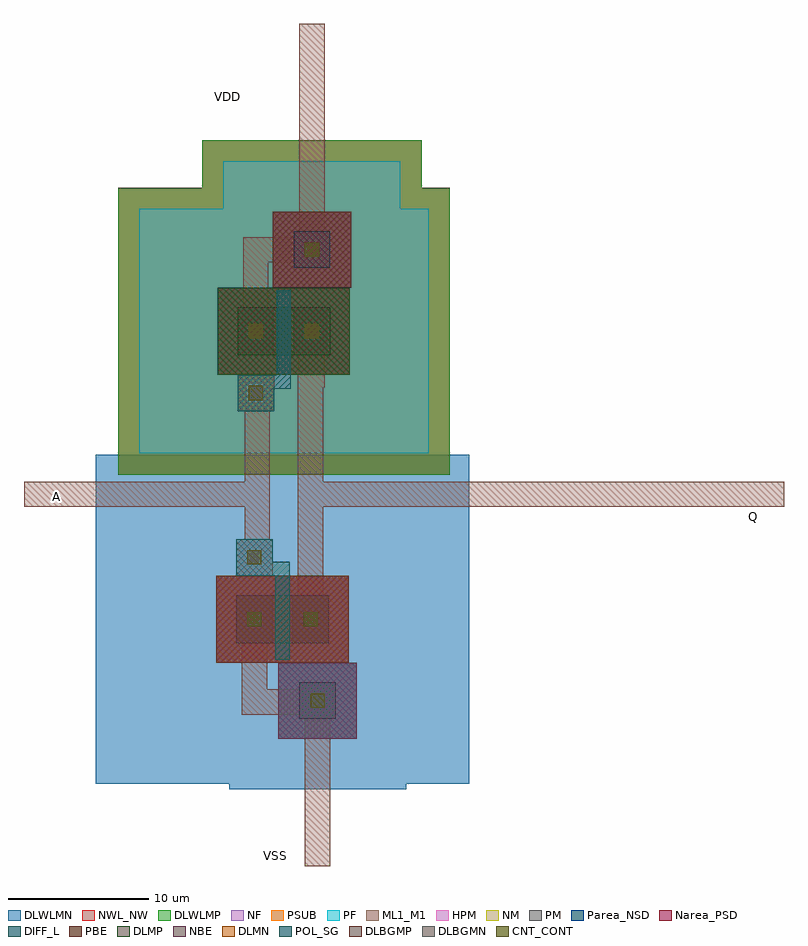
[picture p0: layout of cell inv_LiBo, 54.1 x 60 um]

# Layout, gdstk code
import gdstk
lib = gdstk.Library(unit=1e-6, precision=1e-07)
def R(c, l, rs):  # rectangles x0, y0, x1, y1
    for r in rs: c.add(gdstk.rectangle(r[:2], r[2:], *l))
DIFF_L = (3, 0)
NM = (7, 0)
POL_SG = (8, 0)
Narea_PSD = (9, 0)
CNT_CONT = (11, 0)
ML1_M1 = (13, 0)
NF = (25, 0)
PF = (26, 0)
Parea_NSD = (28, 0)
HPM = (33, 0)
PM = (35, 0)
NWL_NW = (36, 0)
PSUB = (140, 0)
PBE = (146, 0)
NBE = (147, 0)
DLWLMP = (150, 0)
DLWLMN = (151, 0)
DLMP = (157, 0)
DLMN = (158, 0)
DLBGMP = (177, 0)
DLBGMN = (178, 0)

dcont = lib.new_cell('dcont')
R(dcont, DIFF_L, [(-1.3,-1.3,1.3,1.3)])
R(dcont, CNT_CONT, [(-0.5,-0.5,0.5,0.5)])
R(dcont, ML1_M1, [(-1.3,-1.3,1.3,1.3), (-0.5,-0.5,0.5,0.5)])

pcont = lib.new_cell('pcont')
R(pcont, POL_SG, [(-1.3,-1.3,1.3,1.3)])
R(pcont, CNT_CONT, [(-0.5,-0.5,0.5,0.5)])
R(pcont, ML1_M1, [(-1.3,-1.3,1.3,1.3), (-0.5,-0.5,0.5,0.5)])

c_dcont = lib.new_cell('DCONT')
R(c_dcont, DIFF_L, [(-1.3,-1.3,1.3,1.3)])
R(c_dcont, CNT_CONT, [(-0.5,-0.5,0.5,0.5)])
R(c_dcont, ML1_M1, [(-1.3,-1.3,1.3,1.3), (-0.5,-0.5,0.5,0.5)])

nsubcont = lib.new_cell('nsubcont')
R(nsubcont, NM, [(-2.8,-2.7,2.8,2.7)])
R(nsubcont, Narea_PSD, [(-2.8,-2.7,2.8,2.7)])
R(nsubcont, NF, [(-6.3,-6.3,6.3,6.3)])
R(nsubcont, PF, [(-6.3,-6.3,6.3,6.3)])
R(nsubcont, HPM, [(-2.8,-2.7,2.8,2.7)])
R(nsubcont, PM, [(-2.8,-2.7,2.8,2.7)])
R(nsubcont, NWL_NW, [(-7.8,-7.8,7.8,7.8)])
R(nsubcont, PSUB, [(-6.3,-6.3,6.3,6.3)])
R(nsubcont, DLWLMP, [(-7.8,-7.8,7.8,7.8)])
R(nsubcont, DLBGMP, [(-2.8,-2.7,2.8,2.7)])
nsubcont.add(gdstk.Reference(c_dcont, (0,0)))

mp_1 = lib.new_cell('MP$1')
R(mp_1, DIFF_L, [(0,3.6,6.6,7)])
R(mp_1, NM, [(-1.4,2.2,8,8.4)])
R(mp_1, NF, [(-7,-3.4,13.6,14)])
R(mp_1, PF, [(-7,-3.4,13.6,14)])
R(mp_1, Parea_NSD, [(-1.4,2.2,8,8.4)])
R(mp_1, HPM, [(-1.4,2.2,8,8.4)])
R(mp_1, NWL_NW, [(-8.5,-4.9,15.1,15.5)])
R(mp_1, PSUB, [(-7,-3.4,13.6,14)])
R(mp_1, PBE, [(-1.4,2.2,8,8.4)])
R(mp_1, DLWLMP, [(-8.5,-4.9,15.1,15.5)])
R(mp_1, DLMP, [(-1.4,2.2,8,8.4)])
mp_1.add(gdstk.FlexPath([(1.3,3.6),(1.3,7)], 2.6, ends="flush", simple_path=True, layer=13, datatype=0))  # ML1_M1
mp_1.add(gdstk.FlexPath([(5.3,3.6),(5.3,7)], 2.6, ends="flush", simple_path=True, layer=13, datatype=0))  # ML1_M1
mp_1.add(gdstk.FlexPath([(1.3,6),(1.3,9.3)], 1.8, ends="flush", simple_path=True, layer=13, datatype=0))  # ML1_M1
mp_1.add(gdstk.FlexPath([(5.3,1.3),(5.3,4.6)], 1.8, ends="flush", simple_path=True, layer=13, datatype=0))  # ML1_M1
mp_1.add(gdstk.FlexPath([(3.3,3.6),(3.3,7)], 1, ends=(1.2, 1.2), simple_path=True, layer=8, datatype=0))  # POL_SG
mp_1.add(gdstk.FlexPath([(1.3,1.7),(3.3,1.7),(3.3,2.4)], 1, ends="flush", simple_path=True, layer=8, datatype=0))  # POL_SG
mp_1.add(gdstk.Reference(dcont, (1.3,5.3)))
mp_1.add(gdstk.Reference(dcont, (5.3,5.3)))
mp_1.add(gdstk.Reference(pcont, (1.3,0.9)))
mp_1.add(gdstk.Reference(nsubcont, (5.3,11.1)))

psubcont = lib.new_cell('psubcont')
R(psubcont, NM, [(-2.8,-2.7,2.8,2.7)])
R(psubcont, Parea_NSD, [(-2.8,-2.7,2.8,2.7)])
R(psubcont, HPM, [(-2.8,-2.7,2.8,2.7)])
R(psubcont, PM, [(-2.8,-2.7,2.8,2.7)])
R(psubcont, DLWLMN, [(-6.3,-6.3,6.3,6.3)])
R(psubcont, DLBGMN, [(-2.8,-2.7,2.8,2.7)])
psubcont.add(gdstk.Reference(c_dcont, (0,0)))

c_mn = lib.new_cell('MN')
R(c_mn, DIFF_L, [(0,3.6,6.6,7)])
R(c_mn, Narea_PSD, [(-1.4,2.2,8,8.4)])
R(c_mn, HPM, [(-1.4,2.2,8,8.4)])
R(c_mn, PM, [(-1.4,2.2,8,8.4)])
R(c_mn, NBE, [(-1.4,2.2,8,8.4)])
R(c_mn, DLWLMN, [(-10,-6.4,16.6,17)])
R(c_mn, DLMN, [(-1.4,2.2,8,8.4)])
c_mn.add(gdstk.FlexPath([(1.3,3.6),(1.3,7)], 2.6, ends="flush", simple_path=True, layer=13, datatype=0))  # ML1_M1
c_mn.add(gdstk.FlexPath([(5.3,3.6),(5.3,7)], 2.6, ends="flush", simple_path=True, layer=13, datatype=0))  # ML1_M1
c_mn.add(gdstk.FlexPath([(1.3,1.3),(1.3,4.6)], 1.8, ends="flush", simple_path=True, layer=13, datatype=0))  # ML1_M1
c_mn.add(gdstk.FlexPath([(5.3,6),(5.3,9.3)], 1.8, ends="flush", simple_path=True, layer=13, datatype=0))  # ML1_M1
c_mn.add(gdstk.FlexPath([(3.3,3.6),(3.3,7)], 1, ends=(1.2, 1.2), simple_path=True, layer=8, datatype=0))  # POL_SG
c_mn.add(gdstk.FlexPath([(1.3,8.9),(3.3,8.9),(3.3,8.2)], 1, ends="flush", simple_path=True, layer=8, datatype=0))  # POL_SG
c_mn.add(gdstk.Reference(dcont, (1.3,5.3)))
c_mn.add(gdstk.Reference(dcont, (5.3,5.3)))
c_mn.add(gdstk.Reference(pcont, (1.3,9.7)))
c_mn.add(gdstk.Reference(psubcont, (5.8,-0.5)))

text = lib.new_cell('TEXT')

inv_libo = lib.new_cell('inv_LiBo')
inv_libo.add(gdstk.FlexPath([(19.8,21.9),(19.8,10.2)], 1.8, ends="flush", simple_path=True, layer=13, datatype=0))  # ML1_M1
inv_libo.add(gdstk.FlexPath([(23.6,26.2),(23.6,6)], 1.8, ends="flush", simple_path=True, layer=13, datatype=0))  # ML1_M1
inv_libo.add(gdstk.FlexPath([(23.7,14.8),(57.3,14.8)], 1.8, ends="flush", simple_path=True, layer=13, datatype=0))  # ML1_M1
inv_libo.add(gdstk.FlexPath([(19.8,14.8),(3.2,14.8)], 1.8, ends="flush", simple_path=True, layer=13, datatype=0))  # ML1_M1
inv_libo.add(gdstk.FlexPath([(24.1,0.1),(24.1,-11.7)], 1.8, ends="flush", simple_path=True, layer=13, datatype=0))  # ML1_M1
inv_libo.add(gdstk.FlexPath([(19.6,5.9),(19.6,0),(24.3,0)], 1.8, ends="flush", simple_path=True, layer=13, datatype=0))  # ML1_M1
inv_libo.add(gdstk.FlexPath([(23.7,32.2),(19.7,32.2),(19.7,26.5)], 1.8, ends="flush", simple_path=True, layer=13, datatype=0))  # ML1_M1
inv_libo.add(gdstk.FlexPath([(23.7,32.1),(23.7,48.3)], 1.8, ends="flush", simple_path=True, layer=13, datatype=0))  # ML1_M1
inv_libo.add(gdstk.Reference(mp_1, (18.4,21.1)))
inv_libo.add(gdstk.Reference(c_mn, (18.3,0.6)))
inv_libo.add(gdstk.Reference(text, (1.1,9.5)))
inv_libo.add(gdstk.Reference(text, (-0.4,-6.2)))
inv_libo.add(gdstk.Reference(text, (2.2,-17.9)))
inv_libo.add(gdstk.Reference(text, (1.1,-8)))
inv_libo.add(gdstk.Reference(text, (-33.8,32.6)))
inv_libo.add(gdstk.Reference(text, (-47.9,40.6)))
inv_libo.add(gdstk.Reference(text, (-15.1,14.5)))
inv_libo.add(gdstk.Reference(text, (-15.1,14.4)))
inv_libo.add(gdstk.Reference(text, (-26.5,12.5)))
inv_libo.add(gdstk.Reference(text, (-32.2,9.5)))
inv_libo.add(gdstk.Reference(text, (-17.9,18.3)))
inv_libo.add(gdstk.Reference(text, (-18.6,25.5)))
inv_libo.add(gdstk.Reference(text, (-16.6,18.4)))
inv_libo.add(gdstk.Reference(text, (-16.6,18.4)))
inv_libo.add(gdstk.Reference(text, (-16.6,18.4)))
inv_libo.add(gdstk.Reference(text, (-21.5,18.7)))
inv_libo.add(gdstk.Reference(text, (-21.6,18.7)))
inv_libo.add(gdstk.Reference(text, (-21.6,18.7)))
inv_libo.add(gdstk.Label('A', (5.5,14.6), layer=13, texttype=0))
inv_libo.add(gdstk.Label('Q', (55.1,13.2), layer=13, texttype=0))
inv_libo.add(gdstk.Label('VDD', (17.7,43.1), layer=13, texttype=0))
inv_libo.add(gdstk.Label('VSS', (21.1,-10.9), layer=13, texttype=0))

lib.write_gds('inv_LiBo.gds')
